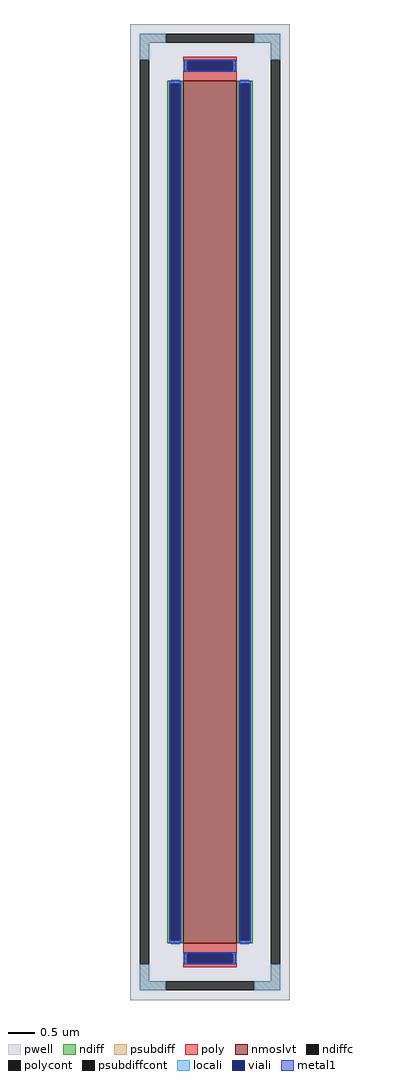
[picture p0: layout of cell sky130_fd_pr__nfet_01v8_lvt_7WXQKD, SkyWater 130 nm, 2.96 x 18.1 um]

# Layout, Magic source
magic
tech sky130A
<< pwell >>
rect -148 -905 148 905
<< nmoslvt >>
rect -50 -800 50 800
<< ndiff >>
rect -79 794 -50 800
rect -79 -794 -73 794
rect -56 -794 -50 794
rect -79 -800 -50 -794
rect 50 794 79 800
rect 50 -794 56 794
rect 73 -794 79 794
rect 50 -800 79 -794
<< ndiffc >>
rect -73 -794 -56 794
rect 56 -794 73 794
<< psubdiff >>
rect -130 870 -82 887
rect 82 870 130 887
rect -130 839 -113 870
rect 113 839 130 870
rect -130 -870 -113 -839
rect 113 -870 130 -839
rect -130 -887 -82 -870
rect 82 -887 130 -870
<< psubdiffcont >>
rect -82 870 82 887
rect -130 -839 -113 839
rect 113 -839 130 839
rect -82 -887 82 -870
<< poly >>
rect -50 836 50 844
rect -50 819 -42 836
rect 42 819 50 836
rect -50 800 50 819
rect -50 -819 50 -800
rect -50 -836 -42 -819
rect 42 -836 50 -819
rect -50 -844 50 -836
<< polycont >>
rect -42 819 42 836
rect -42 -836 42 -819
<< locali >>
rect -130 870 -82 887
rect 82 870 130 887
rect -130 839 -113 870
rect 113 839 130 870
rect -50 819 -42 836
rect 42 819 50 836
rect -73 794 -56 802
rect -73 -802 -56 -794
rect 56 794 73 802
rect 56 -802 73 -794
rect -50 -836 -42 -819
rect 42 -836 50 -819
rect -130 -870 -113 -839
rect 113 -870 130 -839
rect -130 -887 -82 -870
rect 82 -887 130 -870
<< viali >>
rect -42 819 42 836
rect -73 -794 -56 794
rect 56 -794 73 794
rect -42 -836 42 -819
<< metal1 >>
rect -48 836 48 839
rect -48 819 -42 836
rect 42 819 48 836
rect -48 816 48 819
rect -76 794 -53 800
rect -76 -794 -73 794
rect -56 -794 -53 794
rect -76 -800 -53 -794
rect 53 794 76 800
rect 53 -794 56 794
rect 73 -794 76 794
rect 53 -800 76 -794
rect -48 -819 48 -816
rect -48 -836 -42 -819
rect 42 -836 48 -819
rect -48 -839 48 -836
<< properties >>
string FIXED_BBOX -121 -878 121 878
string gencell sky130_fd_pr__nfet_01v8_lvt
string library sky130
string parameters w 16.0 l 1.0 m 1 nf 1 diffcov 100 polycov 100 guard 1 glc 1 grc 1 gtc 1 gbc 1 tbcov 100 rlcov 100 topc 1 botc 1 poverlap 0 doverlap 1 lmin 0.15 wmin 0.42 compatible {sky130_fd_pr__nfet_01v8 sky130_fd_pr__nfet_01v8_lvt  sky130_fd_bs_flash__special_sonosfet_star  sky130_fd_pr__nfet_g5v0d10v5 sky130_fd_pr__nfet_05v0_nvt  sky130_fd_pr__nfet_03v3_nvt} full_metal 1 viasrc 100 viadrn 100 viagate 100 viagb 0 viagr 0 viagl 0 viagt 0
<< end >>
